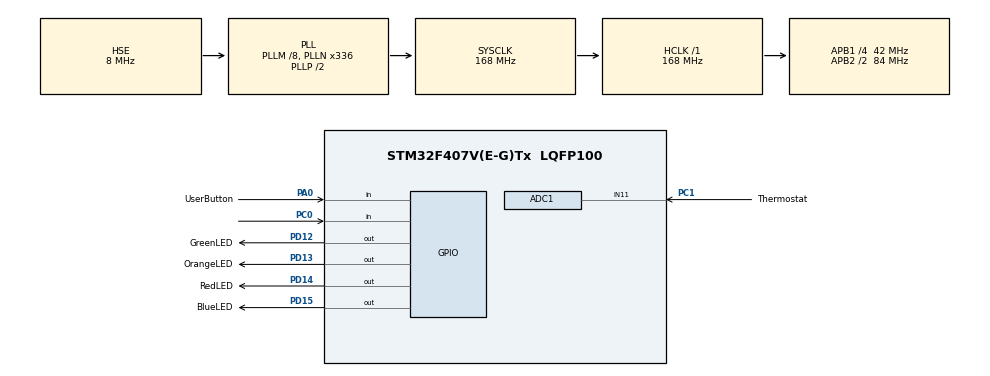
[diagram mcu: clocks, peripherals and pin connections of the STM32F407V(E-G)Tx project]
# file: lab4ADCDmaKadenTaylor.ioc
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ADC1.Channel-0\#ChannelRegularConversion=ADC_CHANNEL_TEMPSENSOR
ADC1.ContinuousConvMode=ENABLE
ADC1.DMAContinuousRequests=ENABLE
ADC1.NbrOfConversionFlag=1
ADC1.Rank-0\#ChannelRegularConversion=1
ADC1.SamplingTime-0\#ChannelRegularConversion=ADC_SAMPLETIME_84CYCLES
ADC1.master=1
ADC3.Channel-0\#ChannelRegularConversion=ADC_CHANNEL_11
ADC3.ContinuousConvMode=ENABLE
ADC3.DMAContinuousRequests=ENABLE
ADC3.NbrOfConversionFlag=1
ADC3.Rank-0\#ChannelRegularConversion=1
ADC3.SamplingTime-0\#ChannelRegularConversion=ADC_SAMPLETIME_84CYCLES
Dma.ADC1.0.Direction=DMA_PERIPH_TO_MEMORY
Dma.ADC1.0.FIFOMode=DMA_FIFOMODE_DISABLE
Dma.ADC1.0.Instance=DMA2_Stream0
Dma.ADC1.0.MemDataAlignment=DMA_MDATAALIGN_WORD
Dma.ADC1.0.MemInc=DMA_MINC_ENABLE
Dma.ADC1.0.Mode=DMA_CIRCULAR
Dma.ADC1.0.PeriphDataAlignment=DMA_PDATAALIGN_WORD
Dma.ADC1.0.PeriphInc=DMA_PINC_DISABLE
Dma.ADC1.0.Priority=DMA_PRIORITY_LOW
Dma.ADC3.1.Direction=DMA_PERIPH_TO_MEMORY
Dma.ADC3.1.FIFOMode=DMA_FIFOMODE_DISABLE
Dma.ADC3.1.Instance=DMA2_Stream1
Dma.ADC3.1.MemDataAlignment=DMA_MDATAALIGN_WORD
Dma.ADC3.1.MemInc=DMA_MINC_ENABLE
Dma.ADC3.1.Mode=DMA_CIRCULAR
Dma.ADC3.1.PeriphDataAlignment=DMA_PDATAALIGN_WORD
Dma.ADC3.1.PeriphInc=DMA_PINC_DISABLE
Dma.ADC3.1.Priority=DMA_PRIORITY_LOW
Dma.Request0=ADC1
Dma.Request1=ADC3
Mcu.Family=STM32F4
Mcu.Name=STM32F407V(E-G)Tx
Mcu.Package=LQFP100
NVIC.ADC_IRQn=true\:0\:0\:false\:false\:true\:true\:true
NVIC.DMA2_Stream0_IRQn=true\:0\:0\:false\:false\:true\:false\:true
NVIC.DMA2_Stream1_IRQn=true\:0\:0\:false\:false\:true\:false\:true
NVIC.PriorityGroup=NVIC_PRIORITYGROUP_4
PA0-WKUP.GPIO_Label=UserButton
PA0-WKUP.Signal=GPIO_Input
PA13.Mode=Trace_Asynchronous_SW
PA13.Signal=SYS_JTMS-SWDIO
PA14.Mode=Trace_Asynchronous_SW
PA14.Signal=SYS_JTCK-SWCLK
PB3.Mode=Trace_Asynchronous_SW
PB3.Signal=SYS_JTDO-SWO
PC0.Signal=GPIO_Input
PC1.GPIO_Label=Thermostat
PC1.Signal=ADCx_IN11
PD12.GPIO_Label=GreenLED
PD12.Signal=GPIO_Output
PD13.GPIO_Label=OrangeLED
PD13.Signal=GPIO_Output
PD14.GPIO_Label=RedLED
PD14.Signal=GPIO_Output
PD15.GPIO_Label=BlueLED
PD15.Signal=GPIO_Output
PH0-OSC_IN.Mode=HSE-External-Oscillator
PH0-OSC_IN.Signal=RCC_OSC_IN
PH1-OSC_OUT.Mode=HSE-External-Oscillator
PH1-OSC_OUT.Signal=RCC_OSC_OUT
ProjectManager.HeapSize=0x200
ProjectManager.StackSize=0x400
ProjectManager.TargetToolchain=STM32CubeIDE
RCC.48MHZClocksFreq_Value=84000000
RCC.AHBFreq_Value=168000000
RCC.APB1CLKDivider=RCC_HCLK_DIV4
RCC.APB1Freq_Value=42000000
RCC.APB1TimFreq_Value=84000000
RCC.APB2CLKDivider=RCC_HCLK_DIV2
RCC.APB2Freq_Value=84000000
RCC.APB2TimFreq_Value=168000000
RCC.CortexFreq_Value=168000000
RCC.HCLKFreq_Value=168000000
RCC.HSE_VALUE=8000000
RCC.HSI_VALUE=16000000
RCC.LSE_VALUE=32768
RCC.PLLM=8
RCC.PLLN=336
RCC.PLLSourceVirtual=RCC_PLLSOURCE_HSE
RCC.SYSCLKFreq_VALUE=168000000
RCC.SYSCLKSource=RCC_SYSCLKSOURCE_PLLCLK
RCC.VCOOutputFreq_Value=336000000
SH.ADCx_IN11.0=ADC1_IN11,IN11
SH.ADCx_IN11.1=ADC3_IN11,IN11
VP_ADC1_TempSens_Input.Mode=IN-TempSens
board=custom

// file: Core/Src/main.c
/* USER CODE BEGIN Header */
/**
  ******************************************************************************
  * lab4ADCDmaKadenTaylor           : main.c
  * using the dma to fill an array with 100 values from two thermostats and blink
  * the Oragne LED at the same time. The array gets converted into real temperature.: Main program body
  ******************************************************************************
  * Kaden Taylor
  *
  * <h2><center>&copy; Copyright (c) 2020 STMicroelectronics.
  * All rights reserved.</center></h2>
  *
  * This software component is licensed by ST under BSD 3-Clause license,
  * the "License"; You may not use this file except in compliance with the
  * License. You may obtain a copy of the License at:
  *                        opensource.org/licenses/BSD-3-Clause
  *
  ******************************************************************************
  */
/* USER CODE END Header */
#include "main.h"

/* USER CODE BEGIN Includes */
#include <stdio.h>
#include <math.h>
/* USER CODE END Includes */

ADC_HandleTypeDef hadc1;
ADC_HandleTypeDef hadc3;
DMA_HandleTypeDef hdma_adc1;
DMA_HandleTypeDef hdma_adc3;

/* USER CODE BEGIN PV */
uint32_t thermValue = 0;
uint32_t thermDieValue = 0;
uint32_t arrayThermValue [100];
uint32_t arrayThermDieValue [100];
float C1;//this is Celsius for the external thermostat
float C2;//this is the Celsius for the internal die thermostat
/* USER CODE END PV */

void SystemClock_Config(void);
static void MX_GPIO_Init(void);
static void MX_DMA_Init(void);
static void MX_ADC1_Init(void);
static void MX_ADC3_Init(void);
/* USER CODE BEGIN PFP */
void thermValueMath(int thermValue, float C1);
void thermDieValueMath(int thermDieValue, float C2);
/* USER CODE END PFP */

int main(void)
{

  /* MCU Configuration--------------------------------------------------------*/

  /* Reset of all peripherals, Initializes the Flash interface and the Systick. */
  HAL_Init();

  /* Configure the system clock */
  SystemClock_Config();

  /* Initialize all configured peripherals */
  MX_GPIO_Init();
  MX_DMA_Init();
  MX_ADC1_Init();
  MX_ADC3_Init();
  /* USER CODE BEGIN 2 */
HAL_ADC_Start_DMA(&hadc3, arrayThermValue, 100);
HAL_ADC_Start_DMA(&hadc1, arrayThermDieValue, 100);
  /* USER CODE END 2 */

  /* Infinite loop */
  /* USER CODE BEGIN WHILE */
  while (1)
  {

	  HAL_GPIO_WritePin(OrangeLED_GPIO_Port, OrangeLED_Pin, GPIO_PIN_SET);//turn on the LED
	  HAL_Delay(500);

	  thermValue = 0;
	  thermDieValue = 0;

	  for(int i = 0; i < 100; i++ )
	  {
		  thermValue += arrayThermValue[i];
		  thermDieValue += arrayThermDieValue[i];
	  }

	  HAL_GPIO_WritePin(OrangeLED_GPIO_Port, OrangeLED_Pin, GPIO_PIN_RESET);//turn off the LED
	  HAL_Delay(500);

	  //pass values to two different math function
	  thermValueMath(thermValue, C1);
	  thermDieValueMath(thermDieValue, C2);

    /* USER CODE END WHILE */

  }
}

void SystemClock_Config(void)
{
  RCC_OscInitTypeDef RCC_OscInitStruct = {0};
  RCC_ClkInitTypeDef RCC_ClkInitStruct = {0};

  /** Configure the main internal regulator output voltage
  */
  __HAL_RCC_PWR_CLK_ENABLE();
  __HAL_PWR_VOLTAGESCALING_CONFIG(PWR_REGULATOR_VOLTAGE_SCALE1);
  /** Initializes the RCC Oscillators according to the specified parameters
  * in the RCC_OscInitTypeDef structure.
  */
  RCC_OscInitStruct.OscillatorType = RCC_OSCILLATORTYPE_HSE;
  RCC_OscInitStruct.HSEState = RCC_HSE_ON;
  RCC_OscInitStruct.PLL.PLLState = RCC_PLL_ON;
  RCC_OscInitStruct.PLL.PLLSource = RCC_PLLSOURCE_HSE;
  RCC_OscInitStruct.PLL.PLLM = 8;
  RCC_OscInitStruct.PLL.PLLN = 336;
  RCC_OscInitStruct.PLL.PLLP = RCC_PLLP_DIV2;
  RCC_OscInitStruct.PLL.PLLQ = 4;
  if (HAL_RCC_OscConfig(&RCC_OscInitStruct) != HAL_OK)
  {
    Error_Handler();
  }
  /** Initializes the CPU, AHB and APB buses clocks
  */
  RCC_ClkInitStruct.ClockType = RCC_CLOCKTYPE_HCLK|RCC_CLOCKTYPE_SYSCLK
                              |RCC_CLOCKTYPE_PCLK1|RCC_CLOCKTYPE_PCLK2;
  RCC_ClkInitStruct.SYSCLKSource = RCC_SYSCLKSOURCE_PLLCLK;
  RCC_ClkInitStruct.AHBCLKDivider = RCC_SYSCLK_DIV1;
  RCC_ClkInitStruct.APB1CLKDivider = RCC_HCLK_DIV4;
  RCC_ClkInitStruct.APB2CLKDivider = RCC_HCLK_DIV2;

  if (HAL_RCC_ClockConfig(&RCC_ClkInitStruct, FLASH_LATENCY_5) != HAL_OK)
  {
    Error_Handler();
  }
}

static void MX_ADC1_Init(void)
{

  ADC_ChannelConfTypeDef sConfig = {0};

  /** Configure the global features of the ADC (Clock, Resolution, Data Alignment and number of conversion)
  */
  hadc1.Instance = ADC1;
  hadc1.Init.ClockPrescaler = ADC_CLOCK_SYNC_PCLK_DIV4;
  hadc1.Init.Resolution = ADC_RESOLUTION_12B;
  hadc1.Init.ScanConvMode = DISABLE;
  hadc1.Init.ContinuousConvMode = ENABLE;
  hadc1.Init.DiscontinuousConvMode = DISABLE;
  hadc1.Init.ExternalTrigConvEdge = ADC_EXTERNALTRIGCONVEDGE_NONE;
  hadc1.Init.ExternalTrigConv = ADC_SOFTWARE_START;
  hadc1.Init.DataAlign = ADC_DATAALIGN_RIGHT;
  hadc1.Init.NbrOfConversion = 1;
  hadc1.Init.DMAContinuousRequests = ENABLE;
  hadc1.Init.EOCSelection = ADC_EOC_SINGLE_CONV;
  if (HAL_ADC_Init(&hadc1) != HAL_OK)
  {
    Error_Handler();
  }
  /** Configure for the selected ADC regular channel its corresponding rank in the sequencer and its sample time.
  */
  sConfig.Channel = ADC_CHANNEL_TEMPSENSOR;
  sConfig.Rank = 1;
  sConfig.SamplingTime = ADC_SAMPLETIME_84CYCLES;
  if (HAL_ADC_ConfigChannel(&hadc1, &sConfig) != HAL_OK)
  {
    Error_Handler();
  }

}

static void MX_ADC3_Init(void)
{

  ADC_ChannelConfTypeDef sConfig = {0};

  /** Configure the global features of the ADC (Clock, Resolution, Data Alignment and number of conversion)
  */
  hadc3.Instance = ADC3;
  hadc3.Init.ClockPrescaler = ADC_CLOCK_SYNC_PCLK_DIV4;
  hadc3.Init.Resolution = ADC_RESOLUTION_12B;
  hadc3.Init.ScanConvMode = DISABLE;
  hadc3.Init.ContinuousConvMode = ENABLE;
  hadc3.Init.DiscontinuousConvMode = DISABLE;
  hadc3.Init.ExternalTrigConvEdge = ADC_EXTERNALTRIGCONVEDGE_NONE;
  hadc3.Init.ExternalTrigConv = ADC_SOFTWARE_START;
  hadc3.Init.DataAlign = ADC_DATAALIGN_RIGHT;
  hadc3.Init.NbrOfConversion = 1;
  hadc3.Init.DMAContinuousRequests = ENABLE;
  hadc3.Init.EOCSelection = ADC_EOC_SINGLE_CONV;
  if (HAL_ADC_Init(&hadc3) != HAL_OK)
  {
    Error_Handler();
  }
  /** Configure for the selected ADC regular channel its corresponding rank in the sequencer and its sample time.
  */
  sConfig.Channel = ADC_CHANNEL_11;
  sConfig.Rank = 1;
  sConfig.SamplingTime = ADC_SAMPLETIME_84CYCLES;
  if (HAL_ADC_ConfigChannel(&hadc3, &sConfig) != HAL_OK)
  {
    Error_Handler();
  }

}

static void MX_DMA_Init(void)
{

  /* DMA controller clock enable */
  __HAL_RCC_DMA2_CLK_ENABLE();

  /* DMA interrupt init */
  /* DMA2_Stream0_IRQn interrupt configuration */
  HAL_NVIC_SetPriority(DMA2_Stream0_IRQn, 0, 0);
  HAL_NVIC_EnableIRQ(DMA2_Stream0_IRQn);
  /* DMA2_Stream1_IRQn interrupt configuration */
  HAL_NVIC_SetPriority(DMA2_Stream1_IRQn, 0, 0);
  HAL_NVIC_EnableIRQ(DMA2_Stream1_IRQn);

}

static void MX_GPIO_Init(void)
{
  GPIO_InitTypeDef GPIO_InitStruct = {0};

  /* GPIO Ports Clock Enable */
  __HAL_RCC_GPIOH_CLK_ENABLE();
  __HAL_RCC_GPIOC_CLK_ENABLE();
  __HAL_RCC_GPIOA_CLK_ENABLE();
  __HAL_RCC_GPIOD_CLK_ENABLE();
  __HAL_RCC_GPIOB_CLK_ENABLE();

  /*Configure GPIO pin Output Level */
  HAL_GPIO_WritePin(GPIOD, GreenLED_Pin|OrangeLED_Pin|RedLED_Pin|BlueLED_Pin, GPIO_PIN_RESET);

  /*Configure GPIO pin : PC0 */
  GPIO_InitStruct.Pin = GPIO_PIN_0;
  GPIO_InitStruct.Mode = GPIO_MODE_INPUT;
  GPIO_InitStruct.Pull = GPIO_NOPULL;
  HAL_GPIO_Init(GPIOC, &GPIO_InitStruct);

  /*Configure GPIO pin : UserButton_Pin */
  GPIO_InitStruct.Pin = UserButton_Pin;
  GPIO_InitStruct.Mode = GPIO_MODE_INPUT;
  GPIO_InitStruct.Pull = GPIO_NOPULL;
  HAL_GPIO_Init(UserButton_GPIO_Port, &GPIO_InitStruct);

  /*Configure GPIO pins : GreenLED_Pin OrangeLED_Pin RedLED_Pin BlueLED_Pin */
  GPIO_InitStruct.Pin = GreenLED_Pin|OrangeLED_Pin|RedLED_Pin|BlueLED_Pin;
  GPIO_InitStruct.Mode = GPIO_MODE_OUTPUT_PP;
  GPIO_InitStruct.Pull = GPIO_NOPULL;
  GPIO_InitStruct.Speed = GPIO_SPEED_FREQ_LOW;
  HAL_GPIO_Init(GPIOD, &GPIO_InitStruct);

}

/* USER CODE BEGIN 4 */
int __io_putchar(int ch)
{
    ITM_SendChar(ch);
    return 0;
}

void thermValueMath(int thermValue, float C1)
{
float avgSample = 0;                 //reset average sample to 0
C1 = 0;

avgSample = thermValue / 100;        //average sample = sum of samples / number of samples

//converting value to resistance
avgSample = 4095 / (avgSample - 1);
avgSample = 10000 / avgSample;

C1 = avgSample / 10000;                // average sample / nominal thermistor
C1 = log(C1);                            // ln(R/Ro)
C1 /= 3950;                            // (1/beta coefficient) * ln(R/Ro)
C1 = C1 + (1.0 / (25 + 273.15));        // + 1/(1.0 / (nominal temperature + absolute zero))
C1 = 1 / C1;                            // invert
C1 -= 273.15;                            // convert to C

//print out the calculated value
printf("Temperature for the external thermostat (C): %0.1f\n", C1);
}

void thermDieValueMath(int thermDieValue, float C2)
{
float avgDieSample = 0;

avgDieSample = thermDieValue;

avgDieSample /= 100;//dividing by the number of samples (100)
avgDieSample /= 4095;//voltage sense

C2 = ((avgDieSample - 0.76)/2.5) + 25 ;//values pulled from data sheet for the 407 and equation from the rm0090 reference manual

//print out the calculated values
printf("Temperature for the internal die thermostat (C): %0.1f \n\n",C2);
}
/* USER CODE END 4 */

void Error_Handler(void)
{
}

/************************ (C) COPYRIGHT STMicroelectronics *****END OF FILE****/
